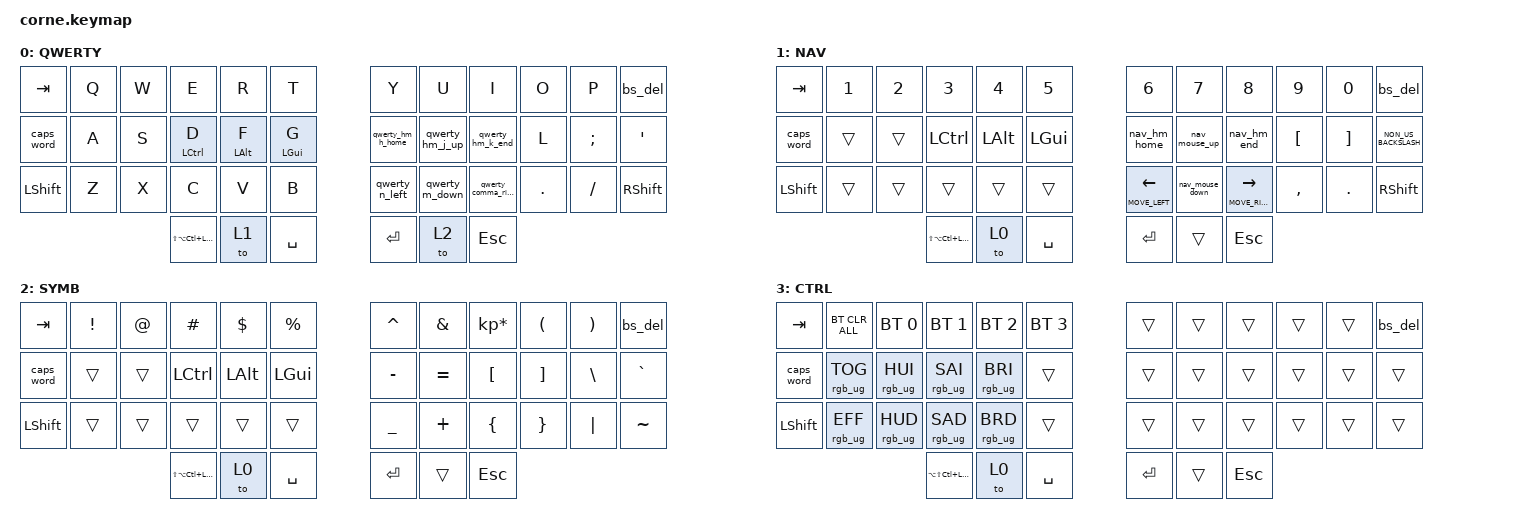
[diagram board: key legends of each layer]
/*
 * Copyright (c) 2020 The ZMK Contributors
 *
 * SPDX-License-Identifier: MIT
 */

#include <dt-bindings/zmk/pointing.h>
#include <behaviors.dtsi>
#include <dt-bindings/zmk/bt.h>
#include <dt-bindings/zmk/keys.h>
#include <dt-bindings/zmk/mouse.h>
#include <dt-bindings/zmk/rgb.h>

&led_strip { chain-length = <27>; };

/ {
    behaviors {
        hm: hm {
            compatible = "zmk,behavior-hold-tap";
            label = "HM";
            bindings = <&kp>, <&kp>;

            #binding-cells = <2>;
            tapping-term-ms = <150>;
            flavor = "tap-preferred";
        };

        bs_del: bs_del {
            compatible = "zmk,behavior-mod-morph";
            label = "BS_DEL";
            bindings = <&kp BACKSPACE>, <&kp DEL>;

            #binding-cells = <0>;
            mods = <(MOD_LGUI|MOD_RGUI)>;
        };

        nav_hm_mkp: nav_hm_mkp {
            compatible = "zmk,behavior-hold-tap";
            label = "NAV_HM_MKP";
            bindings = <&mkp>, <&kp>;

            #binding-cells = <2>;
            tapping-term-ms = <100>;
            flavor = "tap-preferred";
        };

        nav_hm_mmv: nav_hm_mmv {
            compatible = "zmk,behavior-hold-tap";
            label = "NAV_HM_MMV";
            bindings = <&mmv>, <&kp>;

            #binding-cells = <2>;
            tapping-term-ms = <100>;
            flavor = "tap-preferred";
        };

        nav_mouse_up: nav_mouse_up {
            compatible = "zmk,behavior-mod-morph";
            label = "NAV_MOUSE_UP";
            bindings = <&nav_hm_mmv MOVE_UP UP_ARROW>, <&msc SCRL_UP>;

            #binding-cells = <0>;
            mods = <(MOD_LSFT)>;
            keep-mods = <(MOD_LSFT)>;
        };

        nav_mouse_down: nav_mouse_down {
            compatible = "zmk,behavior-mod-morph";
            label = "NAV_MOUSE_DOWN";
            bindings = <&nav_hm_mmv MOVE_DOWN DOWN>, <&msc SCRL_DOWN>;

            #binding-cells = <0>;
            mods = <(MOD_LSFT)>;
            keep-mods = <(MOD_LSFT)>;
        };

        nav_hm_home: nav_hm_home {
            compatible = "zmk,behavior-mod-morph";
            label = "NAV_HM_HOME";
            bindings = <&mkp LCLK>, <&kp HOME>;

            #binding-cells = <0>;
            mods = <(MOD_LSFT)>;
        };

        nav_hm_end: nav_hm_end {
            compatible = "zmk,behavior-mod-morph";
            label = "NAV_HM_END";
            bindings = <&mkp RCLK>, <&kp END>;

            #binding-cells = <0>;
            mods = <(MOD_LSFT)>;
        };

        qwerty_n_left: qwerty_n_left {
            compatible = "zmk,behavior-mod-morph";
            label = "QWERTY_N_LEFT";
            bindings = <&kp N>, <&kp LEFT>;

            #binding-cells = <0>;
            mods = <(MOD_LALT)>;
            keep-mods = <(MOD_LALT)>;
        };

        qwerty_m_down: qwerty_m_down {
            compatible = "zmk,behavior-mod-morph";
            label = "QWERTY_M_DOWN";
            bindings = <&kp M>, <&kp DOWN_ARROW>;

            #binding-cells = <0>;
            mods = <(MOD_LALT)>;
            keep-mods = <(MOD_LALT)>;
        };

        qwerty_comma_right: qwerty_comma_right {
            compatible = "zmk,behavior-mod-morph";
            label = "QWERTY_COMMA_RIGHT";
            bindings = <&kp COMMA>, <&kp RIGHT>;

            #binding-cells = <0>;
            mods = <(MOD_LALT)>;
            keep-mods = <(MOD_LALT)>;
        };

        qwerty_hm_j_up: qwerty_hm_j_up {
            compatible = "zmk,behavior-mod-morph";
            label = "QWERTY_HM_J_UP";
            bindings = <&hm RIGHT_ALT J>, <&kp UP>;

            #binding-cells = <0>;
            mods = <(MOD_LALT)>;
            keep-mods = <(MOD_LALT)>;
        };

        qwerty_hm_h_home: qwerty_hm_h_home {
            compatible = "zmk,behavior-mod-morph";
            label = "QWERTY_HM_H_HOME";
            bindings = <&hm RIGHT_GUI H>, <&kp HOME>;

            #binding-cells = <0>;
            mods = <(MOD_LALT)>;
            keep-mods = <(MOD_LALT)>;
        };

        qwerty_hm_k_end: qwerty_hm_k_end {
            compatible = "zmk,behavior-mod-morph";
            label = "QWERTY_HM_K_END";
            bindings = <&hm RCTRL K>, <&kp END>;

            #binding-cells = <0>;
            mods = <(MOD_LALT)>;
            keep-mods = <(MOD_LALT)>;
        };
    };

    combos { compatible = "zmk,combos"; };

    keymap {
        compatible = "zmk,keymap";

        QWERTY {
            // -----------------------------------------------------------------------------------------
            // |  TAB |  Q  |  W  |  E  |  R  |  T  |   |  Y  |  U   |  I  |  O  |  P  | BKSP |
            // | CTRL |  A  |  S  |  D  |  F  |  G  |   |  H  |  J   |  K  |  L  |  ;  |  '   |
            // | SHFT |  Z  |  X  |  C  |  V  |  B  |   |  N  |  M   |  ,  |  .  |  /  | SHFT |
            //                    | GUI | LWR | ENT |   | SPC | RSE  | ALT |

            bindings = <
&kp TAB     &kp Q  &kp W  &kp E                 &kp R           &kp T             &kp Y              &kp U            &kp I                &kp O    &kp P     &bs_del
&caps_word  &kp A  &kp S  &hm LCTRL D           &hm LEFT_ALT F  &hm LEFT_GUI G    &qwerty_hm_h_home  &qwerty_hm_j_up  &qwerty_hm_k_end     &kp L    &kp SEMI  &kp SQT
&kp LSHFT   &kp Z  &kp X  &kp C                 &kp V           &kp B             &qwerty_n_left     &qwerty_m_down   &qwerty_comma_right  &kp DOT  &kp FSLH  &kp RSHFT
                          &kp LS(LA(LC(LGUI)))  &to 1           &kp SPACE         &kp RET            &to 2            &kp ESCAPE
            >;
        };

        NAV {
            // -----------------------------------------------------------------------------------------
            // |  TAB |  1    |  2  |  3  |  4  |  5  |   |  6  |  7  |  8  |  9  |  0  | BKSP |
            // | LCTRL| BTCLR | BT0 | BT1 | BT2 | BT3 |   | LFT | DWN |  UP | RGT |     |      |
            // | ESC  |       | HOME| PGUP| PGDN| END |   |     |     |     |     |     |      |
            //                      | GUI |     | SPC |   | ENT |     | ALT |

            bindings = <
&kp TAB     &kp N1  &kp N2  &kp N3                &kp N4        &kp N5       &kp N6                      &kp N7           &kp N8                        &kp N9            &kp N0             &bs_del
&caps_word  &trans  &trans  &kp LCTRL             &kp LEFT_ALT  &kp LGUI     &nav_hm_home                &nav_mouse_up    &nav_hm_end                   &kp LEFT_BRACKET  &kp RIGHT_BRACKET  &kp NON_US_BACKSLASH
&kp LSHIFT  &trans  &trans  &trans                &trans        &trans       &nav_hm_mmv MOVE_LEFT LEFT  &nav_mouse_down  &nav_hm_mmv MOVE_RIGHT RIGHT  &kp COMMA         &kp PERIOD         &kp RIGHT_SHIFT
                            &kp LS(LA(LC(LGUI)))  &to 0         &kp SPACE    &kp RET                     &trans           &kp ESC
            >;
        };

        SYMB {
            // -----------------------------------------------------------------------------------------
            // |  TAB |   !   |   @   |   #   |   $   |   %   |   |  ^  |  &  |  *  |  (  |  )  | BKSP |
            // | CTRL |RGB_TOG|RGB_HUI|RGB_SAI|RGB_VAI|       |   |  -  |  =  |  [  |  ]  |  \  |  `   |
            // | SHFT |RGB_MOD|RGB_HUD|RGB_SAD|RGB_VAD|QK_BOOT|   |  _  |  +  |  {  |  }  | "|" |  ~   |
            //                            | GUI |     |  SPC  |   | ENT |     | ALT |

            bindings = <
&kp TAB     &kp EXCL  &kp AT  &kp HASH              &kp DLLR      &kp PRCNT       &kp CARET  &kp AMPS   &kp KP_MULTIPLY  &kp LPAR  &kp RPAR  &bs_del
&caps_word  &trans    &trans  &kp LCTRL             &kp LEFT_ALT  &kp LEFT_GUI    &kp MINUS  &kp EQUAL  &kp LBKT         &kp RBKT  &kp BSLH  &kp GRAVE
&kp LSHFT   &trans    &trans  &trans                &trans        &trans          &kp UNDER  &kp PLUS   &kp LBRC         &kp RBRC  &kp PIPE  &kp TILDE
                              &kp LS(LA(LC(LGUI)))  &to 0         &kp SPACE       &kp RET    &trans     &kp ESC
            >;
        };

        CTRL {
            bindings = <
&kp TAB         &bt BT_CLR_ALL   &bt BT_SEL 0     &bt BT_SEL 1          &bt BT_SEL 2     &bt BT_SEL 3    &trans   &trans  &trans   &trans  &trans  &bs_del
&caps_word      &rgb_ug RGB_TOG  &rgb_ug RGB_HUI  &rgb_ug RGB_SAI       &rgb_ug RGB_BRI  &trans          &trans   &trans  &trans   &trans  &trans  &trans
&kp LEFT_SHIFT  &rgb_ug RGB_EFF  &rgb_ug RGB_HUD  &rgb_ug RGB_SAD       &rgb_ug RGB_BRD  &trans          &trans   &trans  &trans   &trans  &trans  &trans
                                                  &kp LA(LS(LC(LGUI)))  &to 0            &kp SPACE       &kp RET  &trans  &kp ESC
            >;
        };
    };

    conditional_layers { compatible = "zmk,conditional-layers"; };
};
